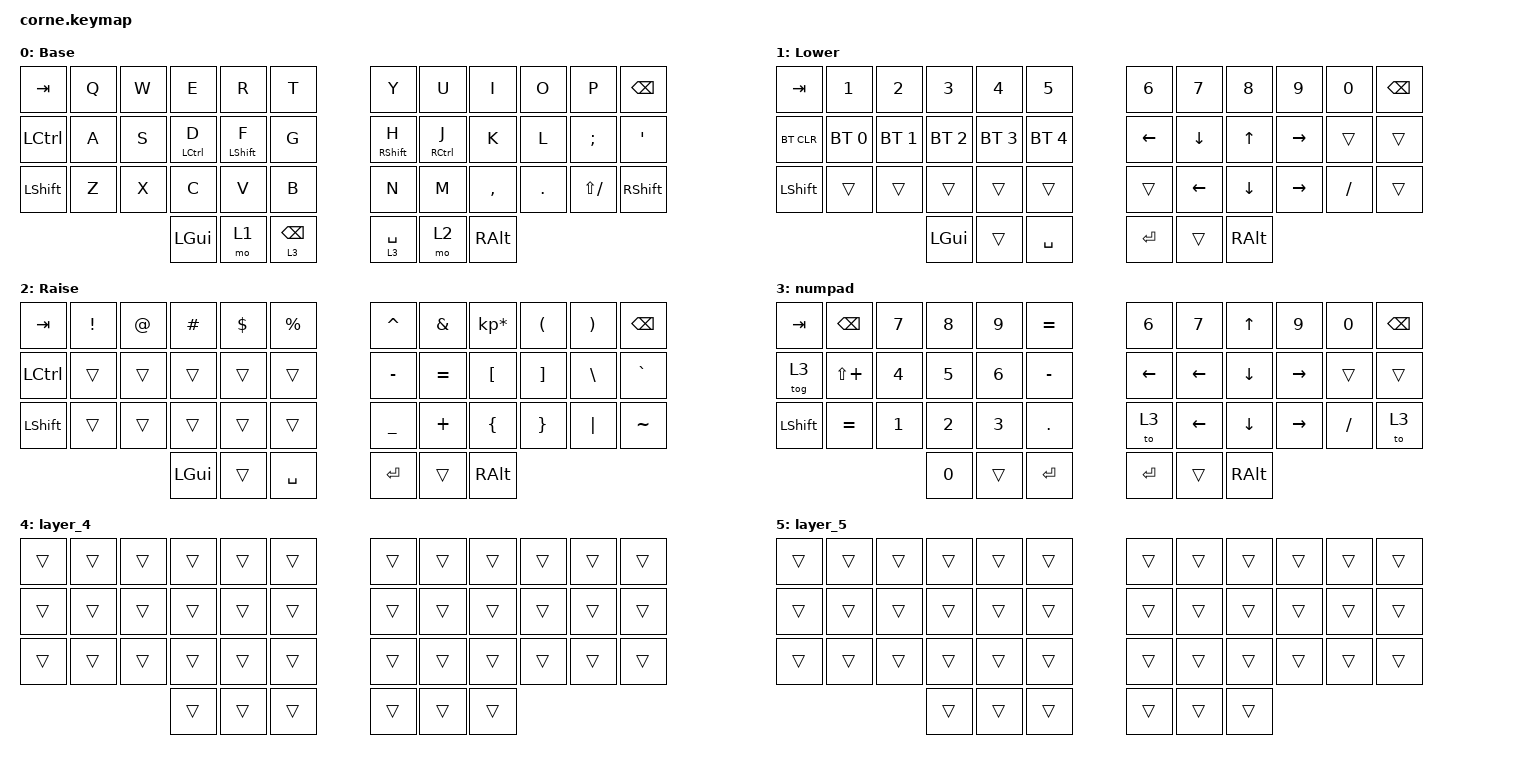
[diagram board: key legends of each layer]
/*
 * Copyright (c) 2020 The ZMK Contributors
 *
 * SPDX-License-Identifier: MIT
 */

#include <behaviors.dtsi>
#include <dt-bindings/zmk/bt.h>
#include <dt-bindings/zmk/keys.h>

/ {
    behaviors {
        HMR: HMR {
            compatible = "zmk,behavior-hold-tap";
            label = "HMR";
            bindings = <&kp>, <&kp>;

            #binding-cells = <2>;
            tapping-term-ms = <280>;
            quick-tap-ms = <175>;
            flavor = "tap-preferred";
            hold-trigger-key-positions = <27 0 12 24 1 13 14 2 3 4 5 14 15 16 17 26 27 28 29 36 37 38 39 41 40>;
            hold-trigger-on-release;
        };

        HML: HML {
            compatible = "zmk,behavior-hold-tap";
            label = "HML";
            bindings = <&kp>, <&kp>;

            #binding-cells = <2>;
            tapping-term-ms = <280>;
            quick-tap-ms = <175>;
            flavor = "tap-preferred";
            hold-trigger-key-positions = <6 7 8 9 10 11 18 19 20 21 22 23 30 31 32 33 34 35 39 40 41 36 37 38>;
            hold-trigger-on-release;
        };

        tap_dance_mod_tap: tap_dance_mod_tap {
            compatible = "zmk,behavior-tap-dance";
            label = "TAP_DANCE_MOD_TAP";
            #binding-cells = <0>;
            bindings = <&triple_dots>;
            tapping-term-ms = <350>;
        };
    };

    combos {
        compatible = "zmk,combos";

        esca {
            bindings = <&kp ESC>;
            key-positions = <19 20>;
        };

        tab {
            bindings = <&kp TAB>;
            key-positions = <1 0>;
        };

        enter {
            bindings = <&kp ENTER>;
            key-positions = <38 17>;
        };

        copy {
            bindings = <&kp LC(C)>;
            key-positions = <15 27>;
        };

        paste {
            bindings = <&kp LC(V)>;
            key-positions = <16 28>;
        };
    };

    macros {
        rounding_macro: rounding_macro {
            compatible = "zmk,behavior-macro";
            #binding-cells = <0>;
            bindings = <&none>;
            label = "ROUNDING_MACRO";
        };

        triple_dots: triple_dots {
            compatible = "zmk,behavior-macro";
            #binding-cells = <0>;
            bindings = <&kp DOT &kp DOT &kp DOT &kp SPACE>;
            label = "TRIPLE_DOTS";
        };
    };

    keymap {
        compatible = "zmk,keymap";

        default_layer {
            // -----------------------------------------------------------------------------------------
            // |  TAB |  Q  |  W  |  E  |  R  |  T  |   |  Y  |  U   |  I  |  O  |  P  | BKSP |
            // | CTRL |  A  |  S  |  D  |  F  |  G  |   |  H  |  J   |  K  |  L  |  ;  |  '   |
            // | SHFT |  Z  |  X  |  C  |  V  |  B  |   |  N  |  M   |  ,  |  .  |  /  | ESC  |
            //                    | GUI | LWR | SPC |   | ENT | RSE  | ALT |

            display-name = "Base";
            bindings = <
&kp TAB    &kp Q  &kp W  &kp E                &kp R              &kp T              &kp Y               &kp U                 &kp I      &kp O    &kp P         &kp BSPC
&kp LCTRL  &kp A  &kp S  &HML LEFT_CONTROL D  &HML LEFT_SHIFT F  &kp G              &HMR RIGHT_SHIFT H  &HMR RIGHT_CONTROL J  &kp K      &kp L    &kp SEMI      &kp SQT
&kp LSHFT  &kp Z  &kp X  &kp C                &kp V              &kp B              &kp N               &kp M                 &kp COMMA  &kp DOT  &kp LS(FSLH)  &kp RIGHT_SHIFT
                         &kp LGUI             &mo 1              &lt 3 BACKSPACE    &lt 3 SPACE         &mo 2                 &kp RALT
            >;
        };

        lower_layer {
            // -----------------------------------------------------------------------------------------
            // |  TAB |  1  |  2  |  3  |  4  |  5  |   |  6  |  7  |  8  |  9  |  0  | BKSP |
            // | BTCLR| BT1 | BT2 | BT3 | BT4 | BT5 |   | LFT | DWN |  UP | RGT |     |      |
            // | SHFT |     |     |     |     |     |   |     |     |     |     |     |      |
            //                    | GUI |     | SPC |   | ENT |     | ALT |

            display-name = "Lower";
            bindings = <
&kp TAB     &kp N1        &kp N2        &kp N3        &kp N4        &kp N5          &kp N6    &kp N7    &kp N8    &kp N9     &kp N0    &kp BSPC
&bt BT_CLR  &bt BT_SEL 0  &bt BT_SEL 1  &bt BT_SEL 2  &bt BT_SEL 3  &bt BT_SEL 4    &kp LEFT  &kp DOWN  &kp UP    &kp RIGHT  &trans    &trans
&kp LSHFT   &trans        &trans        &trans        &trans        &trans          &trans    &kp LEFT  &kp DOWN  &kp RIGHT  &kp FSLH  &trans
                                        &kp LGUI      &trans        &kp SPACE       &kp RET   &trans    &kp RALT
            >;
        };

        raise_layer {
            // -----------------------------------------------------------------------------------------
            // |  TAB |  !  |  @  |  #  |  $  |  %  |   |  ^  |  &  |  *  |  (  |  )  | BKSP |
            // | CTRL |     |     |     |     |     |   |  -  |  =  |  [  |  ]  |  \  |  `   |
            // | SHFT |     |     |     |     |     |   |  _  |  +  |  {  |  }  | "|" |  ~   |
            //                    | GUI |     | SPC |   | ENT |     | ALT |

            display-name = "Raise";
            bindings = <
&kp TAB    &kp EXCL  &kp AT  &kp HASH  &kp DLLR  &kp PRCNT    &kp CARET  &kp AMPS   &kp KP_MULTIPLY  &kp LPAR  &kp RPAR  &kp BSPC
&kp LCTRL  &trans    &trans  &trans    &trans    &trans       &kp MINUS  &kp EQUAL  &kp LBKT         &kp RBKT  &kp BSLH  &kp GRAVE
&kp LSHFT  &trans    &trans  &trans    &trans    &trans       &kp UNDER  &kp PLUS   &kp LBRC         &kp RBRC  &kp PIPE  &kp TILDE
                             &kp LGUI  &trans    &kp SPACE    &kp RET    &trans     &kp RALT
            >;
        };

        numpad_layer {
            display-name = "numpad";
            bindings = <
&kp TAB    &kp BSPC      &kp N7  &kp N8  &kp N9  &kp EQUAL    &kp N6    &kp N7    &kp UP    &kp N9     &kp N0    &kp BSPC
&tog 3     &kp LS(PLUS)  &kp N4  &kp N5  &kp N6  &kp MINUS    &kp LEFT  &kp LEFT  &kp DOWN  &kp RIGHT  &trans    &trans
&kp LSHFT  &kp EQUAL     &kp N1  &kp N2  &kp N3  &kp DOT      &to 3     &kp LEFT  &kp DOWN  &kp RIGHT  &kp FSLH  &to 3
                                 &kp N0  &trans  &kp ENTER    &kp RET   &trans    &kp RALT
            >;
        };

        layer_4 {
            bindings = <
&trans  &trans  &trans  &trans  &trans  &trans    &trans  &trans  &trans  &trans  &trans  &trans
&trans  &trans  &trans  &trans  &trans  &trans    &trans  &trans  &trans  &trans  &trans  &trans
&trans  &trans  &trans  &trans  &trans  &trans    &trans  &trans  &trans  &trans  &trans  &trans
                        &trans  &trans  &trans    &trans  &trans  &trans
            >;
        };

        layer_5 {
            bindings = <
&trans  &trans  &trans  &trans  &trans  &trans    &trans  &trans  &trans  &trans  &trans  &trans
&trans  &trans  &trans  &trans  &trans  &trans    &trans  &trans  &trans  &trans  &trans  &trans
&trans  &trans  &trans  &trans  &trans  &trans    &trans  &trans  &trans  &trans  &trans  &trans
                        &trans  &trans  &trans    &trans  &trans  &trans
            >;
        };
    };
};
